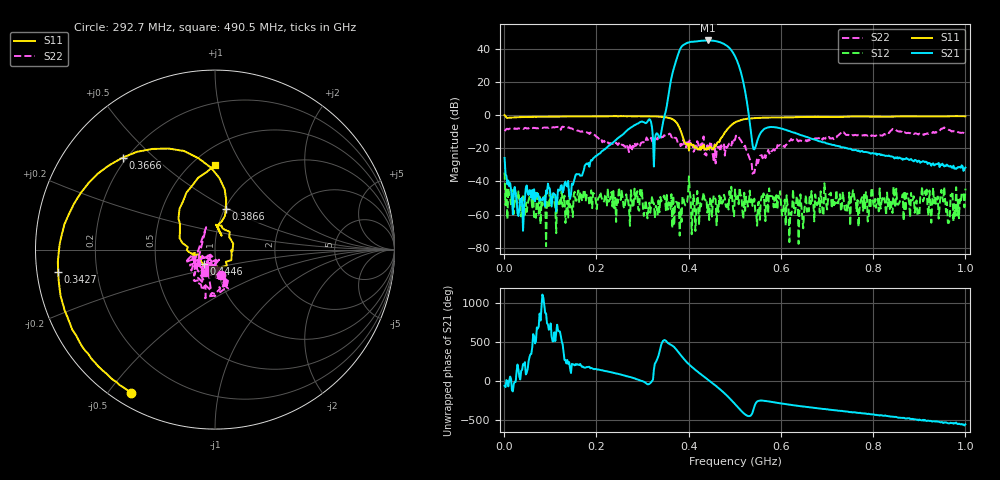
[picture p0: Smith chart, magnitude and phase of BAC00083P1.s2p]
!measured: 2026-10-27T14:55:56
!cal_instance: BBtestOct27
!cal_created: 2026-10-27T14:45
!cal_file: BBtesting.cal
!port1_delay_ps: -58.63
!port2_delay_ps: -59.31
!host: dhcp-10-250-247-203.harvard.edu
! Created with skrf 2.1.0 (http://scikit-rf.org).
# Hz S RI R 50.0
!freq ReS11 ImS11 ReS21 ImS21 ReS12 ImS12 ReS22 ImS22
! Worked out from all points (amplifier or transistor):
!   501 points, 1 MHz to 1 GHz, reference 50 ohm
!   highest |S21| = 45.0 dB at 442.6 MHz (marker M1)
!   |S21| within 3 dB of that: 387.3 MHz to 481.9 MHz (94.53 MHz wide, 21.8 % of centre)
!   unconditionally stable (mu >= 1): start of sweep to 399.3 MHz; 418.7 MHz to 492.2 MHz; 500.5 MHz to end of sweep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
!   at 166.8 MHz: K = 1183.24, MAG = -28.4 dB, |S12| = -47.2 dB
!   at 500.5 MHz: K = 0.98, MSG = 40.2 dB, |S12| = -44.8 dB
!   at 1 GHz: K = 420.63, MAG = -22.9 dB, |S12| = -44.3 dB
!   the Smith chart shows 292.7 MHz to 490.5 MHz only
!   S11 on the Smith chart (normalised r, x): 292.7 MHz: 0.05, -0.57; 342.7 MHz: 0.06, -0.07; 366.6 MHz: 0.18, +0.40; 386.6 MHz: 1.01, +0.48; 444.6 MHz: 0.87, -0.14; 490.5 MHz: 0.64, +0.77
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1000000  -0.3237 0.9431  0.0275 -0.0432  0.0089 0.0163  0.3306 -0.0194
1.68832e8  0.4849 -0.7731  -0.0149 -0.00175  -0.00193 -0.00169  -0.0241 -0.3247
2.92708e8  -0.4694 -0.7964  0.5639 0.1607  0.00116 -0.000612  0.0312 -0.1402
3.34666e8  -0.8485 -0.2996  0.2053 -0.1162  0.00258 0.000702  0.0732 -0.2175
3.42658e8  -0.8738 -0.1232  -0.3376 0.27  0.00286 0.0016  0.0293 -0.2184
3.66634e8  -0.5142 0.5127  0.3139 22.44  0.00357 -0.00102  -0.071 -0.2256
3.76624e8  -0.0912 0.5085  59.85 23.75  0.00142 0.000878  -0.1035 -0.1021
3.86614e8  0.0598 0.2244  78.16 -96.12  0.00221 0.00273  -0.1252 -0.0274
3.96604e8  0.0144 0.1303  -71.53 -131.8  -0.000718 -0.00224  -0.1389 -0.085
4.1059e8  0.0816 0.0995  -159.6 39.35  0.003 -0.00255  -0.071 -0.0345
4.26574e8  0.0605 -0.0678  -3.794 173.3  -0.00173 -0.000329  -0.0536 -0.1411
4.42558e8  -0.0429 -0.0837  168.7 57.31  -0.0018 0.00112  -0.009 -0.0919
4.44556e8  -0.0616 -0.0798  175 28.65  -0.000627 -0.000276  -0.0317 -0.0842
4.52548e8  -0.0761 -0.0509  155.4 -80.57  -0.00243 -0.00069  0.00897 -0.0611
4.64536e8  -0.157 -0.00201  14.46 -162.2  -0.000147 0.00118  -0.0321 -0.0984
4.78522e8  -0.1975 0.2282  -124.3 -51.89  -0.000791 0.00308  0.0226 -0.056
4.9051e8  0.00108 0.4717  -66.19 72.34  0.00213 0.00234  -0.0587 -0.1319
5.005e8  0.2787 0.5237  21.76 55.37  -0.00495 -0.00289  -0.1333 -0.1201
5.16484e8  0.6571 0.3138  10.88 -7.248  0.000256 -0.00131  -0.1401 -0.000423
6.68332e8  0.0188 -0.8821  0.1758 0.0728  0.00141 -0.00187  0.0472 -0.1709
8.34166e8  -0.6254 -0.6413  0.000912 -0.0607  0.00261 0.00126  -0.1631 -0.2362
1e9  -0.899 -0.2108  -0.0256 0.0054  -0.00109 -0.00598  -0.2437 -0.1761
